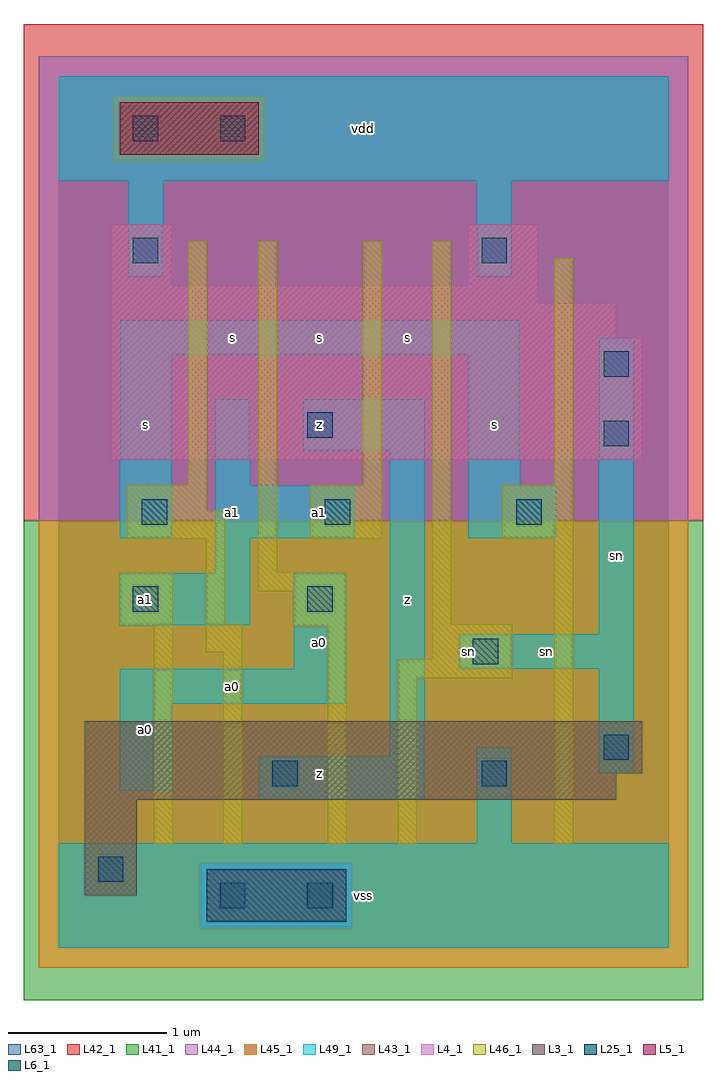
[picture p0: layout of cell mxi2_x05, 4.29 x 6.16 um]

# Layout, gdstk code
import gdstk
lib = gdstk.Library(unit=1e-6, precision=1e-09)
def R(c, l, rs):  # rectangles x0, y0, x1, y1
    for r in rs: c.add(gdstk.rectangle(r[:2], r[2:], *l))
L3_1 = (3, 1)
L4_1 = (4, 1)
L5_1 = (5, 1)
L6_1 = (6, 1)
L25_1 = (25, 1)
L41_1 = (41, 1)
L42_1 = (42, 1)
L43_1 = (43, 1)
L44_1 = (44, 1)
L45_1 = (45, 1)
L46_1 = (46, 1)
L49_1 = (49, 1)
L63_1 = (63, 1)

mxi2_x05 = lib.new_cell('mxi2_x05')
R(mxi2_x05, L3_1, [(0.165,0.33,0.495,0.935), (0.165,0.935,3.52,1.1), (0.165,1.1,3.685,1.43)])
R(mxi2_x05, L4_1, [(0.33,3.08,3.685,3.85), (0.33,3.85,3.52,4.07), (0.33,4.07,3.025,4.18), (0.33,4.18,0.715,4.565), (2.585,4.18,3.025,4.565)])
R(mxi2_x05, L5_1, [(0.385,5.005,1.265,5.335)])
R(mxi2_x05, L6_1, [(0.935,0.165,1.815,0.495)])
R(mxi2_x05, L25_1, [(1.02,0.25,1.18,0.41), (1.57,0.25,1.73,0.41), (0.25,0.415,0.41,0.575), (1.35,1.02,1.51,1.18), (2.67,1.02,2.83,1.18), (3.44,1.185,3.6,1.345), (2.615,1.79,2.775,1.95), (0.47,2.12,0.63,2.28), (1.57,2.12,1.73,2.28), (0.525,2.67,0.685,2.83), (1.68,2.67,1.84,2.83), (2.89,2.67,3.05,2.83), (3.44,3.165,3.6,3.325), (1.57,3.22,1.73,3.38), (3.44,3.605,3.6,3.765), (0.47,4.32,0.63,4.48), (2.67,4.32,2.83,4.48), (0.47,5.09,0.63,5.25), (1.02,5.09,1.18,5.25)])
R(mxi2_x05, L41_1, [(-0.22,-0.33,4.07,2.695)])
R(mxi2_x05, L42_1, [(-0.22,2.695,4.07,5.83)])
R(mxi2_x05, L43_1, [(0.935,0.165,1.815,0.495), (0.165,0.33,0.495,0.935), (0.165,0.935,3.52,1.1), (0.165,1.1,3.685,1.43), (0.33,3.08,3.685,3.85), (0.33,3.85,3.52,4.07), (0.33,4.07,3.025,4.18), (0.33,4.18,0.715,4.565), (2.585,4.18,3.025,4.565), (0.385,5.005,1.265,5.335)])
R(mxi2_x05, L44_1, [(0.895,0.125,1.855,0.535), (-0.125,2.695,3.975,4.965), (-0.125,4.965,0.345,5.375), (1.305,4.965,3.975,5.375), (-0.125,5.375,3.975,5.625)])
R(mxi2_x05, L45_1, [(-0.125,-0.125,3.975,0.125), (-0.125,0.125,0.895,0.535), (1.855,0.125,3.975,0.535), (-0.125,0.535,3.975,2.695), (0.345,4.965,1.305,5.375)])
R(mxi2_x05, L46_1, [(0.6,0.655,0.72,2.03), (1.04,0.655,1.16,1.865), (1.7,0.655,1.82,2.03), (2.14,0.655,2.26,1.7), (3.13,0.655,3.25,2.58), (2.14,1.7,2.865,1.82), (2.36,1.82,2.865,2.04), (0.93,1.865,1.16,2.04), (0.38,2.03,0.72,2.37), (1.48,2.03,1.82,2.25), (0.93,2.04,1.05,2.58), (2.36,2.04,2.48,4.46), (1.26,2.25,1.82,2.37), (1.26,2.37,1.38,4.46), (0.435,2.58,1.05,2.755), (1.59,2.58,2.04,2.92), (2.8,2.58,3.25,2.92), (0.435,2.755,0.94,2.92), (0.82,2.92,0.94,4.46), (1.92,2.92,2.04,4.46), (3.13,2.92,3.25,4.35)])
R(mxi2_x05, L49_1, [(0,0,3.85,0.66), (2.64,0.66,2.86,1.265), (1.265,0.935,2.31,1.21), (0.385,0.99,0.715,1.54), (3.41,1.1,3.63,1.76), (2.09,1.21,2.31,3.135), (0.385,1.54,1.815,1.76), (1.485,1.76,1.815,2.365), (2.53,1.76,3.63,1.98), (3.41,1.98,3.63,3.85), (0.385,2.035,1.21,2.365), (0.99,2.365,1.21,2.585), (0.385,2.585,0.715,3.74), (0.99,2.585,1.87,2.915), (2.585,2.585,3.135,2.915), (0.99,2.915,1.21,3.465), (2.585,2.915,2.915,3.74), (1.54,3.135,2.31,3.465), (0.385,3.74,2.915,3.96), (0.44,4.235,0.66,4.84), (2.64,4.235,2.86,4.84), (0,4.84,3.85,5.5)])
R(mxi2_x05, L63_1, [(0,0,3.85,5.5)])
mxi2_x05.add(gdstk.Label('sn', (2.585,1.87), layer=46, texttype=1))
mxi2_x05.add(gdstk.Label('a0', (0.55,1.375), layer=49, texttype=1))
mxi2_x05.add(gdstk.Label('a0', (0.55,1.375), layer=49, texttype=1))
mxi2_x05.add(gdstk.Label('a0', (1.1,1.65), layer=49, texttype=1))
mxi2_x05.add(gdstk.Label('a0', (1.1,1.65), layer=49, texttype=1))
mxi2_x05.add(gdstk.Label('a1', (0.55,2.2), layer=49, texttype=1))
mxi2_x05.add(gdstk.Label('a1', (0.55,2.2), layer=49, texttype=1))
mxi2_x05.add(gdstk.Label('a1', (1.1,2.75), layer=49, texttype=1))
mxi2_x05.add(gdstk.Label('a1', (1.1,2.75), layer=49, texttype=1))
mxi2_x05.add(gdstk.Label('s', (0.55,3.3), layer=49, texttype=1))
mxi2_x05.add(gdstk.Label('s', (0.55,3.3), layer=49, texttype=1))
mxi2_x05.add(gdstk.Label('s', (1.1,3.85), layer=49, texttype=1))
mxi2_x05.add(gdstk.Label('s', (1.1,3.85), layer=49, texttype=1))
mxi2_x05.add(gdstk.Label('vss', (1.925,0.33), layer=49, texttype=1))
mxi2_x05.add(gdstk.Label('vss', (1.925,0.33), layer=49, texttype=1))
mxi2_x05.add(gdstk.Label('z', (1.65,1.1), layer=49, texttype=1))
mxi2_x05.add(gdstk.Label('z', (1.65,1.1), layer=49, texttype=1))
mxi2_x05.add(gdstk.Label('a0', (1.65,1.925), layer=49, texttype=1))
mxi2_x05.add(gdstk.Label('a0', (1.65,1.925), layer=49, texttype=1))
mxi2_x05.add(gdstk.Label('a1', (1.65,2.75), layer=49, texttype=1))
mxi2_x05.add(gdstk.Label('a1', (1.65,2.75), layer=49, texttype=1))
mxi2_x05.add(gdstk.Label('z', (1.65,3.3), layer=49, texttype=1))
mxi2_x05.add(gdstk.Label('z', (1.65,3.3), layer=49, texttype=1))
mxi2_x05.add(gdstk.Label('s', (1.65,3.85), layer=49, texttype=1))
mxi2_x05.add(gdstk.Label('s', (1.65,3.85), layer=49, texttype=1))
mxi2_x05.add(gdstk.Label('vdd', (1.925,5.17), layer=49, texttype=1))
mxi2_x05.add(gdstk.Label('vdd', (1.925,5.17), layer=49, texttype=1))
mxi2_x05.add(gdstk.Label('z', (2.2,2.2), layer=49, texttype=1))
mxi2_x05.add(gdstk.Label('z', (2.2,2.2), layer=49, texttype=1))
mxi2_x05.add(gdstk.Label('s', (2.75,3.3), layer=49, texttype=1))
mxi2_x05.add(gdstk.Label('s', (2.75,3.3), layer=49, texttype=1))
mxi2_x05.add(gdstk.Label('s', (2.2,3.85), layer=49, texttype=1))
mxi2_x05.add(gdstk.Label('s', (2.2,3.85), layer=49, texttype=1))
mxi2_x05.add(gdstk.Label('sn', (3.08,1.87), layer=49, texttype=1))
mxi2_x05.add(gdstk.Label('sn', (3.52,2.475), layer=49, texttype=1))

lib.write_gds('mxi2_x05.gds')
